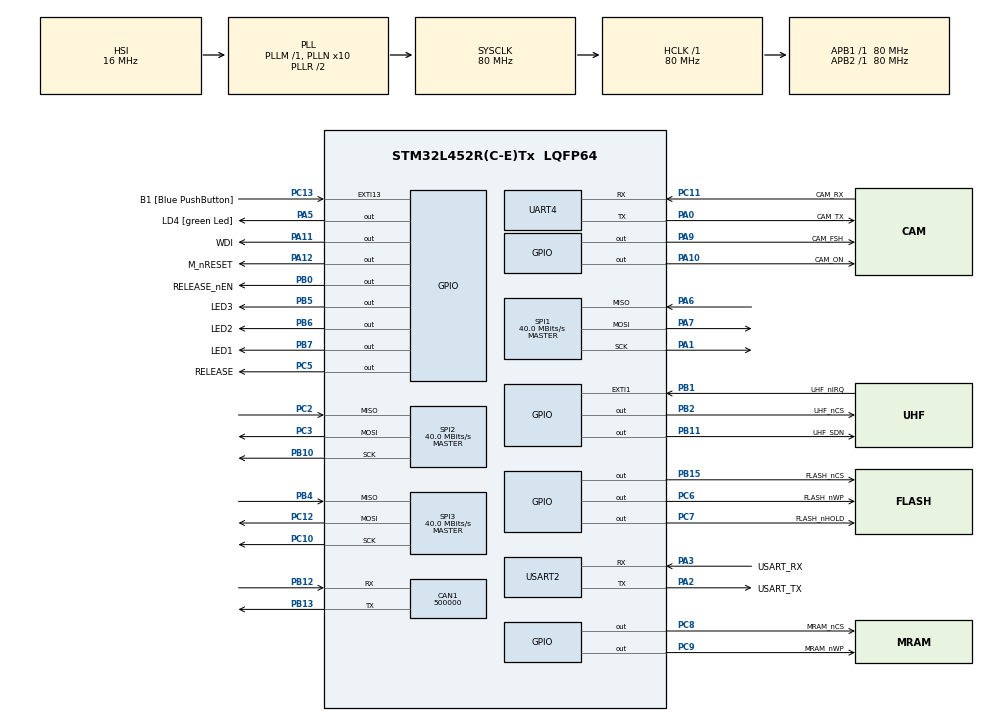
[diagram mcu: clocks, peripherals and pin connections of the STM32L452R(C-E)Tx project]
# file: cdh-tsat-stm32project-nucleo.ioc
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CAN1.BS1=CAN_BS1_5TQ
CAN1.BS2=CAN_BS2_4TQ
CAN1.CalculateBaudRate=500000
CAN1.CalculateTimeBit=2000
CAN1.CalculateTimeQuantum=200.0
Dma.Request0=UART4_RX
Dma.UART4_RX.0.Direction=DMA_PERIPH_TO_MEMORY
Dma.UART4_RX.0.Instance=DMA2_Channel5
Dma.UART4_RX.0.MemDataAlignment=DMA_MDATAALIGN_BYTE
Dma.UART4_RX.0.MemInc=DMA_MINC_ENABLE
Dma.UART4_RX.0.Mode=DMA_NORMAL
Dma.UART4_RX.0.PeriphDataAlignment=DMA_PDATAALIGN_BYTE
Dma.UART4_RX.0.PeriphInc=DMA_PINC_DISABLE
Dma.UART4_RX.0.Priority=DMA_PRIORITY_VERY_HIGH
FREERTOS.Queues01=telemQueue,100,CANMessage,0,Dynamic,NULL,NULL
FREERTOS.Tasks01=defaultTask,24,128,StartDefaultTask,Default,NULL,Dynamic,NULL,NULL;telemHandler,24,1024,StartTelemHandler,As external,NULL,Dynamic,NULL,NULL;fetchTelemData,24,128,StartFetchTelemData,As external,NULL,Dynamic,NULL,NULL
FREERTOS.configTOTAL_HEAP_SIZE=5000
Mcu.Family=STM32L4
Mcu.Name=STM32L452R(C-E)Tx
Mcu.Package=LQFP64
NVIC.CAN1_RX0_IRQn=true\:5\:0\:false\:false\:true\:true\:true\:true\:true
NVIC.DMA2_Channel5_IRQn=true\:5\:0\:false\:false\:true\:true\:false\:true\:true
NVIC.PriorityGroup=NVIC_PRIORITYGROUP_4
NVIC.TIM6_DAC_IRQn=true\:15\:0\:false\:false\:true\:false\:false\:true\:true
NVIC.TimeBase=TIM6_DAC_IRQn
NVIC.TimeBaseIP=TIM6
NVIC.UART4_IRQn=true\:5\:0\:false\:false\:true\:true\:true\:true\:true
PA0.GPIO_Label=CAM_TX
PA0.Mode=Asynchronous
PA0.Signal=UART4_TX
PA1.Mode=Full_Duplex_Master
PA1.Signal=SPI1_SCK
PA10.GPIO_Label=CAM_ON
PA10.Signal=GPIO_Output
PA11.GPIO_Label=WDI
PA11.Signal=GPIO_Output
PA12.GPIO_Label=M_nRESET
PA12.PinState=GPIO_PIN_SET
PA12.Signal=GPIO_Output
PA13\ (JTMS/SWDIO).GPIO_Label=TMS
PA13\ (JTMS/SWDIO).Mode=Serial_Wire
PA13\ (JTMS/SWDIO).Signal=SYS_JTMS-SWDIO
PA14\ (JTCK/SWCLK).GPIO_Label=TCK
PA14\ (JTCK/SWCLK).Mode=Serial_Wire
PA14\ (JTCK/SWCLK).Signal=SYS_JTCK-SWCLK
PA2.GPIO_Label=USART_TX
PA2.GPIO_Mode=GPIO_MODE_AF_PP
PA2.GPIO_PuPd=GPIO_NOPULL
PA2.GPIO_Speed=GPIO_SPEED_FREQ_VERY_HIGH
PA2.Mode=Asynchronous
PA2.Signal=USART2_TX
PA3.GPIO_Label=USART_RX
PA3.GPIO_Mode=GPIO_MODE_AF_PP
PA3.GPIO_PuPd=GPIO_NOPULL
PA3.GPIO_Speed=GPIO_SPEED_FREQ_VERY_HIGH
PA3.Mode=Asynchronous
PA3.Signal=USART2_RX
PA5.GPIO_Label=LD4 [green Led]
PA5.GPIO_ModeDefaultOutputPP=GPIO_MODE_OUTPUT_PP
PA5.GPIO_PuPd=GPIO_NOPULL
PA5.GPIO_Speed=GPIO_SPEED_FREQ_LOW
PA5.Signal=GPIO_Output
PA6.Mode=Full_Duplex_Master
PA6.Signal=SPI1_MISO
PA7.Mode=Full_Duplex_Master
PA7.Signal=SPI1_MOSI
PA9.GPIO_Label=CAM_FSH
PA9.Signal=GPIO_Output
PB0.GPIO_Label=RELEASE_nEN
PB0.PinState=GPIO_PIN_SET
PB0.Signal=GPIO_Output
PB1.GPIO_Label=UHF_nIRQ
PB1.Signal=GPXTI1
PB10.Mode=Full_Duplex_Master
PB10.Signal=SPI2_SCK
PB11.GPIO_Label=UHF_SDN
PB11.Signal=GPIO_Output
PB12.Mode=CAN_Activate
PB12.Signal=CAN1_RX
PB13.Mode=CAN_Activate
PB13.Signal=CAN1_TX
PB15.GPIO_Label=FLASH_nCS
PB15.PinState=GPIO_PIN_SET
PB15.Signal=GPIO_Output
PB2.GPIO_Label=UHF_nCS
PB2.PinState=GPIO_PIN_SET
PB2.Signal=GPIO_Output
PB3\ (JTDO/TRACESWO).GPIO_Label=SWO
PB3\ (JTDO/TRACESWO).Signal=SYS_JTDO-SWO
PB4\ (NJTRST).Mode=Full_Duplex_Master
PB4\ (NJTRST).Signal=SPI3_MISO
PB5.GPIO_Label=LED3
PB5.Signal=GPIO_Output
PB6.GPIO_Label=LED2
PB6.Signal=GPIO_Output
PB7.GPIO_Label=LED1
PB7.Signal=GPIO_Output
PC10.Mode=Full_Duplex_Master
PC10.Signal=SPI3_SCK
PC11.GPIO_Label=CAM_RX
PC11.Mode=Asynchronous
PC11.Signal=UART4_RX
PC12.Mode=Full_Duplex_Master
PC12.Signal=SPI3_MOSI
PC13.GPIO_Label=B1 [Blue PushButton]
PC13.GPIO_ModeDefaultEXTI=GPIO_MODE_IT_FALLING
PC13.GPIO_PuPd=GPIO_NOPULL
PC13.Signal=GPXTI13
PC14-OSC32_IN\ (PC14).Mode=LSE-External-Oscillator
PC14-OSC32_IN\ (PC14).Signal=RCC_OSC32_IN
PC15-OSC32_OUT\ (PC15).Mode=LSE-External-Oscillator
PC15-OSC32_OUT\ (PC15).Signal=RCC_OSC32_OUT
PC2.Mode=Full_Duplex_Master
PC2.Signal=SPI2_MISO
PC3.Mode=Full_Duplex_Master
PC3.Signal=SPI2_MOSI
PC5.GPIO_Label=RELEASE
PC5.Signal=GPIO_Output
PC6.GPIO_Label=FLASH_nWP
PC6.Signal=GPIO_Output
PC7.GPIO_Label=FLASH_nHOLD
PC7.PinState=GPIO_PIN_SET
PC7.Signal=GPIO_Output
PC8.GPIO_Label=MRAM_nCS
PC8.PinState=GPIO_PIN_SET
PC8.Signal=GPIO_Output
PC9.GPIO_Label=MRAM_nWP
PC9.Signal=GPIO_Output
PH0-OSC_IN\ (PH0).Signal=RCC_OSC_IN
PH1-OSC_OUT\ (PH1).Signal=RCC_OSC_OUT
ProjectManager.HeapSize=0x200
ProjectManager.StackSize=0x400
ProjectManager.TargetToolchain=STM32CubeIDE
RCC.ADCFreq_Value=64000000
RCC.AHBFreq_Value=80000000
RCC.APB1Freq_Value=80000000
RCC.APB1TimFreq_Value=80000000
RCC.APB2Freq_Value=80000000
RCC.APB2TimFreq_Value=80000000
RCC.CortexFreq_Value=80000000
RCC.HCLKFreq_Value=80000000
RCC.HSE_VALUE=8000000
RCC.HSI48_VALUE=48000000
RCC.HSI_VALUE=16000000
RCC.MSI_VALUE=4000000
RCC.PLLN=10
RCC.PLLSourceVirtual=RCC_PLLSOURCE_HSI
RCC.PREFETCH_ENABLE=1
RCC.SYSCLKFreq_VALUE=80000000
RCC.SYSCLKSource=RCC_SYSCLKSOURCE_PLLCLK
RCC.USBFreq_Value=64000000
RCC.VCOOutputFreq_Value=160000000
SPI1.CalculateBaudRate=40.0 MBits/s
SPI1.DataSize=SPI_DATASIZE_8BIT
SPI1.Direction=SPI_DIRECTION_2LINES
SPI1.Mode=SPI_MODE_MASTER
SPI1.VirtualType=VM_MASTER
SPI2.CalculateBaudRate=40.0 MBits/s
SPI2.DataSize=SPI_DATASIZE_8BIT
SPI2.Direction=SPI_DIRECTION_2LINES
SPI2.Mode=SPI_MODE_MASTER
SPI2.VirtualType=VM_MASTER
SPI3.CalculateBaudRate=40.0 MBits/s
SPI3.DataSize=SPI_DATASIZE_8BIT
SPI3.Direction=SPI_DIRECTION_2LINES
SPI3.Mode=SPI_MODE_MASTER
SPI3.VirtualType=VM_MASTER
TIM16.Period=5000 - 1
TIM16.Prescaler=80 - 1
USART2.VirtualMode-Asynchronous=VM_ASYNC
VP_FREERTOS_VS_CMSIS_V2.Mode=CMSIS_V2
VP_RTC_VS_RTC_Activate.Mode=RTC_Enabled
VP_RTC_VS_RTC_Calendar.Mode=RTC_Calendar
VP_SYS_VS_tim6.Mode=TIM6
VP_TIM16_VS_ClockSourceINT.Mode=Enable_Timer
board=NUCLEO-L452RE

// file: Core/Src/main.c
/* USER CODE BEGIN Header */
/**
  ******************************************************************************
  * @file           : main.c
  * @brief          : Main program body
  ******************************************************************************
  * @attention
  *
  * Copyright (c) 2024 STMicroelectronics.
  * All rights reserved.
  *
  * This software is licensed under terms that can be found in the LICENSE file
  * in the root directory of this software component.
  * If no LICENSE file comes with this software, it is provided AS-IS.
  *
  ******************************************************************************
  */
/* USER CODE END Header */
#include "main.h"
#include "cmsis_os.h"

/* USER CODE BEGIN Includes */
#include <stdio.h>
#include <stdlib.h>
#include <string.h>

#include <tuk/tuk.h>

#include "W25N_driver.h"
#include "W25N_driver_test.h"
#include "Dhara_Wrapper.h"
#include "Dhara_test.h"
#include "StorageManager.h"
#include "AS3001204_driver.h"
#include "AS3001204_driver_test.h"
#include "LEDs_driver.h"
#include "MAX6822_driver.h"
#include "LTC1154_driver.h"
#include "telemetry_handling.h"

/* USER CODE END Includes */

CAN_HandleTypeDef hcan1;

RTC_HandleTypeDef hrtc;

SPI_HandleTypeDef hspi1;
SPI_HandleTypeDef hspi2;
SPI_HandleTypeDef hspi3;

TIM_HandleTypeDef htim16;

UART_HandleTypeDef huart4;
UART_HandleTypeDef huart2;
DMA_HandleTypeDef hdma_uart4_rx;

/* Definitions for defaultTask */
osThreadId_t defaultTaskHandle;
const osThreadAttr_t defaultTask_attributes = {
  .name = "defaultTask",
  .stack_size = 128 * 4,
  .priority = (osPriority_t) osPriorityNormal,
};
/* Definitions for telemHandler */
osThreadId_t telemHandlerHandle;
const osThreadAttr_t telemHandler_attributes = {
  .name = "telemHandler",
  .stack_size = 1024 * 4,
  .priority = (osPriority_t) osPriorityNormal,
};
/* Definitions for telemQueue */
osMessageQueueId_t telemQueueHandle;
const osMessageQueueAttr_t telemQueue_attributes = {
  .name = "telemQueue"
};

void SystemClock_Config(void);
static void MX_GPIO_Init(void);
static void MX_DMA_Init(void);
static void MX_USART2_UART_Init(void);
static void MX_CAN1_Init(void);
static void MX_SPI1_Init(void);
static void MX_SPI2_Init(void);
static void MX_SPI3_Init(void);
static void MX_UART4_Init(void);
static void MX_TIM16_Init(void);
static void MX_RTC_Init(void);
void StartDefaultTask(void *argument);
extern void StartTelemHandler(void *argument);

int main(void)
{

  /* MCU Configuration--------------------------------------------------------*/

  /* Reset of all peripherals, Initializes the Flash interface and the Systick. */
  HAL_Init();

  /* Configure the system clock */
  SystemClock_Config();

  /* Initialize all configured peripherals */
  MX_GPIO_Init();
  MX_DMA_Init();
  MX_USART2_UART_Init();
  MX_CAN1_Init();
  MX_SPI1_Init();
  MX_SPI2_Init();
  MX_SPI3_Init();
  MX_UART4_Init();
  MX_TIM16_Init();
  MX_RTC_Init();
  /* USER CODE BEGIN 2 */

  //###############################################################################################
  //Peripheral Initialization
  //###############################################################################################

  //this code initializes the MAX6822
  /*MAX6822_Init();*/

  //this code initializes the LEDs
  /*LEDs_Init();*/

  //this code initializes the LTC1154
  /*LTC1154_Init();*/

  //this code initializes the CAN Bus
  /*HAL_StatusTypeDef can_operation_status;
  can_operation_status = CAN_Init();
  if (can_operation_status != HAL_OK) goto error;*/

  //this code initializes the W25N
//  W25N_StatusTypeDef w25n_operation_status;
//  w25n_operation_status = W25N_Init();
//  if (w25n_operation_status != W25N_HAL_OK) goto error;

  //this code initializes the AS3001204
  /*HAL_StatusTypeDef as3001204_operation_status;
  as3001204_operation_status = AS3001204_Init();
  if (as3001204_operation_status != HAL_OK) goto error;*/

  //###############################################################################################
  //Peripheral Unit Tests
  //###############################################################################################

  //this code performs the W25N unit tests
  //this code should be completed after power cycling the W25N
  /*w25n_operation_status = Test_W25N();
  if (w25n_operation_status != W25N_HAL_OK) goto error;
  w25n_operation_status = W25N_Reset_And_Init();
  if (w25n_operation_status != W25N_HAL_OK) goto error;*/

  //this code performs the AS3001204 unit tests
  //this code should be completed after power cycling the AS3001204
  /*as3001204_operation_status = AS3001204_Test_MRAM_Driver();
  if (as3001204_operation_status != HAL_OK) goto error;
  as3001204_operation_status = AS3001204_Init();
  if (as3001204_operation_status != HAL_OK) goto error;*/

  //###############################################################################################
  //Library Initialization
  //###############################################################################################

  //this code initializes the Dhara Library
//  dhara_error_t dhara_status=DHARA_E_NONE;
//  dhara_status=Dhara_Init();
//  if(dhara_status!=DHARA_E_NONE&&dhara_status!=DHARA_E_NOT_FOUND) goto error;
//  dhara_status=DHARA_E_NONE;

  //this code initializes the Storage Manager
//  if(!Storage_Init()) goto error;

  //###############################################################################################
  //Library Unit Tests
  //###############################################################################################

  //this code performs the Dhara library tests
//  dhara_status=Dhara_Test();
//  if(dhara_status!=DHARA_E_NONE) goto error;

  //this code performs the Storage Manager Test
//  uint8_t temp[7] = {0};
//  Storage_Append(TELEM, temp, 7);
//  if(!Storage_Unit_Test(temp, 7)) goto error;

  /* USER CODE END 2 */

  /* Init scheduler */
  osKernelInitialize();

  /* Create the queue(s) */
  /* creation of telemQueue */
  telemQueueHandle = osMessageQueueNew (100, sizeof(CANMessage), &telemQueue_attributes);

  /* Create the thread(s) */
  /* creation of defaultTask */
  defaultTaskHandle = osThreadNew(StartDefaultTask, NULL, &defaultTask_attributes);

  /* creation of telemHandler */
  telemHandlerHandle = osThreadNew(StartTelemHandler, NULL, &telemHandler_attributes);

  /* Start scheduler */
  osKernelStart();

  /* We should never get here as control is now taken by the scheduler */
  /* Infinite loop */
  while (1)
  {

    /* USER CODE BEGIN 3 */
  }

error:
  exit(1);
  /* USER CODE END 3 */
}

void SystemClock_Config(void)
{
  RCC_OscInitTypeDef RCC_OscInitStruct = {0};
  RCC_ClkInitTypeDef RCC_ClkInitStruct = {0};

  /** Configure the main internal regulator output voltage
  */
  if (HAL_PWREx_ControlVoltageScaling(PWR_REGULATOR_VOLTAGE_SCALE1) != HAL_OK)
  {
    Error_Handler();
  }

  /** Initializes the RCC Oscillators according to the specified parameters
  * in the RCC_OscInitTypeDef structure.
  */
  RCC_OscInitStruct.OscillatorType = RCC_OSCILLATORTYPE_HSI|RCC_OSCILLATORTYPE_LSI;
  RCC_OscInitStruct.HSIState = RCC_HSI_ON;
  RCC_OscInitStruct.HSICalibrationValue = RCC_HSICALIBRATION_DEFAULT;
  RCC_OscInitStruct.LSIState = RCC_LSI_ON;
  RCC_OscInitStruct.PLL.PLLState = RCC_PLL_ON;
  RCC_OscInitStruct.PLL.PLLSource = RCC_PLLSOURCE_HSI;
  RCC_OscInitStruct.PLL.PLLM = 1;
  RCC_OscInitStruct.PLL.PLLN = 10;
  RCC_OscInitStruct.PLL.PLLP = RCC_PLLP_DIV7;
  RCC_OscInitStruct.PLL.PLLQ = RCC_PLLQ_DIV2;
  RCC_OscInitStruct.PLL.PLLR = RCC_PLLR_DIV2;
  if (HAL_RCC_OscConfig(&RCC_OscInitStruct) != HAL_OK)
  {
    Error_Handler();
  }

  /** Initializes the CPU, AHB and APB buses clocks
  */
  RCC_ClkInitStruct.ClockType = RCC_CLOCKTYPE_HCLK|RCC_CLOCKTYPE_SYSCLK
                              |RCC_CLOCKTYPE_PCLK1|RCC_CLOCKTYPE_PCLK2;
  RCC_ClkInitStruct.SYSCLKSource = RCC_SYSCLKSOURCE_PLLCLK;
  RCC_ClkInitStruct.AHBCLKDivider = RCC_SYSCLK_DIV1;
  RCC_ClkInitStruct.APB1CLKDivider = RCC_HCLK_DIV1;
  RCC_ClkInitStruct.APB2CLKDivider = RCC_HCLK_DIV1;

  if (HAL_RCC_ClockConfig(&RCC_ClkInitStruct, FLASH_LATENCY_4) != HAL_OK)
  {
    Error_Handler();
  }
}

static void MX_CAN1_Init(void)
{

  hcan1.Instance = CAN1;
  hcan1.Init.Prescaler = 16;
  hcan1.Init.Mode = CAN_MODE_NORMAL;
  hcan1.Init.SyncJumpWidth = CAN_SJW_1TQ;
  hcan1.Init.TimeSeg1 = CAN_BS1_5TQ;
  hcan1.Init.TimeSeg2 = CAN_BS2_4TQ;
  hcan1.Init.TimeTriggeredMode = DISABLE;
  hcan1.Init.AutoBusOff = DISABLE;
  hcan1.Init.AutoWakeUp = DISABLE;
  hcan1.Init.AutoRetransmission = DISABLE;
  hcan1.Init.ReceiveFifoLocked = DISABLE;
  hcan1.Init.TransmitFifoPriority = DISABLE;
  if (HAL_CAN_Init(&hcan1) != HAL_OK)
  {
    Error_Handler();
  }

}

static void MX_RTC_Init(void)
{

  RTC_TimeTypeDef sTime = {0};
  RTC_DateTypeDef sDate = {0};

  /** Initialize RTC Only
  */
  hrtc.Instance = RTC;
  hrtc.Init.HourFormat = RTC_HOURFORMAT_24;
  hrtc.Init.AsynchPrediv = 127;
  hrtc.Init.SynchPrediv = 255;
  hrtc.Init.OutPut = RTC_OUTPUT_DISABLE;
  hrtc.Init.OutPutRemap = RTC_OUTPUT_REMAP_NONE;
  hrtc.Init.OutPutPolarity = RTC_OUTPUT_POLARITY_HIGH;
  hrtc.Init.OutPutType = RTC_OUTPUT_TYPE_OPENDRAIN;
  if (HAL_RTC_Init(&hrtc) != HAL_OK)
  {
    Error_Handler();
  }

  /** Initialize RTC and set the Time and Date
  */
  sTime.Hours = 0x0;
  sTime.Minutes = 0x0;
  sTime.Seconds = 0x0;
  sTime.DayLightSaving = RTC_DAYLIGHTSAVING_NONE;
  sTime.StoreOperation = RTC_STOREOPERATION_RESET;
  if (HAL_RTC_SetTime(&hrtc, &sTime, RTC_FORMAT_BCD) != HAL_OK)
  {
    Error_Handler();
  }
  sDate.WeekDay = RTC_WEEKDAY_MONDAY;
  sDate.Month = RTC_MONTH_JANUARY;
  sDate.Date = 0x1;
  sDate.Year = 0x0;

  if (HAL_RTC_SetDate(&hrtc, &sDate, RTC_FORMAT_BCD) != HAL_OK)
  {
    Error_Handler();
  }

}

static void MX_SPI1_Init(void)
{

  /* SPI1 parameter configuration*/
  hspi1.Instance = SPI1;
  hspi1.Init.Mode = SPI_MODE_MASTER;
  hspi1.Init.Direction = SPI_DIRECTION_2LINES;
  hspi1.Init.DataSize = SPI_DATASIZE_8BIT;
  hspi1.Init.CLKPolarity = SPI_POLARITY_LOW;
  hspi1.Init.CLKPhase = SPI_PHASE_1EDGE;
  hspi1.Init.NSS = SPI_NSS_SOFT;
  hspi1.Init.BaudRatePrescaler = SPI_BAUDRATEPRESCALER_2;
  hspi1.Init.FirstBit = SPI_FIRSTBIT_MSB;
  hspi1.Init.TIMode = SPI_TIMODE_DISABLE;
  hspi1.Init.CRCCalculation = SPI_CRCCALCULATION_DISABLE;
  hspi1.Init.CRCPolynomial = 7;
  hspi1.Init.CRCLength = SPI_CRC_LENGTH_DATASIZE;
  hspi1.Init.NSSPMode = SPI_NSS_PULSE_ENABLE;
  if (HAL_SPI_Init(&hspi1) != HAL_OK)
  {
    Error_Handler();
  }

}

static void MX_SPI2_Init(void)
{

  /* SPI2 parameter configuration*/
  hspi2.Instance = SPI2;
  hspi2.Init.Mode = SPI_MODE_MASTER;
  hspi2.Init.Direction = SPI_DIRECTION_2LINES;
  hspi2.Init.DataSize = SPI_DATASIZE_8BIT;
  hspi2.Init.CLKPolarity = SPI_POLARITY_LOW;
  hspi2.Init.CLKPhase = SPI_PHASE_1EDGE;
  hspi2.Init.NSS = SPI_NSS_SOFT;
  hspi2.Init.BaudRatePrescaler = SPI_BAUDRATEPRESCALER_2;
  hspi2.Init.FirstBit = SPI_FIRSTBIT_MSB;
  hspi2.Init.TIMode = SPI_TIMODE_DISABLE;
  hspi2.Init.CRCCalculation = SPI_CRCCALCULATION_DISABLE;
  hspi2.Init.CRCPolynomial = 7;
  hspi2.Init.CRCLength = SPI_CRC_LENGTH_DATASIZE;
  hspi2.Init.NSSPMode = SPI_NSS_PULSE_ENABLE;
  if (HAL_SPI_Init(&hspi2) != HAL_OK)
  {
    Error_Handler();
  }

}

static void MX_SPI3_Init(void)
{

  /* SPI3 parameter configuration*/
  hspi3.Instance = SPI3;
  hspi3.Init.Mode = SPI_MODE_MASTER;
  hspi3.Init.Direction = SPI_DIRECTION_2LINES;
  hspi3.Init.DataSize = SPI_DATASIZE_8BIT;
  hspi3.Init.CLKPolarity = SPI_POLARITY_LOW;
  hspi3.Init.CLKPhase = SPI_PHASE_1EDGE;
  hspi3.Init.NSS = SPI_NSS_SOFT;
  hspi3.Init.BaudRatePrescaler = SPI_BAUDRATEPRESCALER_2;
  hspi3.Init.FirstBit = SPI_FIRSTBIT_MSB;
  hspi3.Init.TIMode = SPI_TIMODE_DISABLE;
  hspi3.Init.CRCCalculation = SPI_CRCCALCULATION_DISABLE;
  hspi3.Init.CRCPolynomial = 7;
  hspi3.Init.CRCLength = SPI_CRC_LENGTH_DATASIZE;
  hspi3.Init.NSSPMode = SPI_NSS_PULSE_ENABLE;
  if (HAL_SPI_Init(&hspi3) != HAL_OK)
  {
    Error_Handler();
  }

}

static void MX_TIM16_Init(void)
{

  htim16.Instance = TIM16;
  htim16.Init.Prescaler = 80 - 1;
  htim16.Init.CounterMode = TIM_COUNTERMODE_UP;
  htim16.Init.Period = 5000 - 1;
  htim16.Init.ClockDivision = TIM_CLOCKDIVISION_DIV1;
  htim16.Init.RepetitionCounter = 0;
  htim16.Init.AutoReloadPreload = TIM_AUTORELOAD_PRELOAD_DISABLE;
  if (HAL_TIM_Base_Init(&htim16) != HAL_OK)
  {
    Error_Handler();
  }

}

static void MX_UART4_Init(void)
{

  huart4.Instance = UART4;
  huart4.Init.BaudRate = 115200;
  huart4.Init.WordLength = UART_WORDLENGTH_8B;
  huart4.Init.StopBits = UART_STOPBITS_1;
  huart4.Init.Parity = UART_PARITY_NONE;
  huart4.Init.Mode = UART_MODE_TX_RX;
  huart4.Init.HwFlowCtl = UART_HWCONTROL_NONE;
  huart4.Init.OverSampling = UART_OVERSAMPLING_16;
  huart4.Init.OneBitSampling = UART_ONE_BIT_SAMPLE_DISABLE;
  huart4.AdvancedInit.AdvFeatureInit = UART_ADVFEATURE_NO_INIT;
  if (HAL_UART_Init(&huart4) != HAL_OK)
  {
    Error_Handler();
  }

}

static void MX_USART2_UART_Init(void)
{

  huart2.Instance = USART2;
  huart2.Init.BaudRate = 115200;
  huart2.Init.WordLength = UART_WORDLENGTH_8B;
  huart2.Init.StopBits = UART_STOPBITS_1;
  huart2.Init.Parity = UART_PARITY_NONE;
  huart2.Init.Mode = UART_MODE_TX_RX;
  huart2.Init.HwFlowCtl = UART_HWCONTROL_NONE;
  huart2.Init.OverSampling = UART_OVERSAMPLING_16;
  huart2.Init.OneBitSampling = UART_ONE_BIT_SAMPLE_DISABLE;
  huart2.AdvancedInit.AdvFeatureInit = UART_ADVFEATURE_NO_INIT;
  if (HAL_UART_Init(&huart2) != HAL_OK)
  {
    Error_Handler();
  }

}

static void MX_DMA_Init(void)
{

  /* DMA controller clock enable */
  __HAL_RCC_DMA2_CLK_ENABLE();

  /* DMA interrupt init */
  /* DMA2_Channel5_IRQn interrupt configuration */
  HAL_NVIC_SetPriority(DMA2_Channel5_IRQn, 5, 0);
  HAL_NVIC_EnableIRQ(DMA2_Channel5_IRQn);

}

static void MX_GPIO_Init(void)
{
  GPIO_InitTypeDef GPIO_InitStruct = {0};

  /* GPIO Ports Clock Enable */
  __HAL_RCC_GPIOC_CLK_ENABLE();
  __HAL_RCC_GPIOH_CLK_ENABLE();
  __HAL_RCC_GPIOA_CLK_ENABLE();
  __HAL_RCC_GPIOB_CLK_ENABLE();

  /*Configure GPIO pin Output Level */
  HAL_GPIO_WritePin(GPIOA, LD4_Pin|CAM_FSH_Pin|CAM_ON_Pin|WDI_Pin, GPIO_PIN_RESET);

  /*Configure GPIO pin Output Level */
  HAL_GPIO_WritePin(GPIOC, RELEASE_Pin|FLASH_nWP_Pin|MRAM_nWP_Pin, GPIO_PIN_RESET);

  /*Configure GPIO pin Output Level */
  HAL_GPIO_WritePin(GPIOB, RELEASE_nEN_Pin|UHF_nCS_Pin|FLASH_nCS_Pin, GPIO_PIN_SET);

  /*Configure GPIO pin Output Level */
  HAL_GPIO_WritePin(GPIOB, UHF_SDN_Pin|LED3_Pin|LED2_Pin|LED1_Pin, GPIO_PIN_RESET);

  /*Configure GPIO pin Output Level */
  HAL_GPIO_WritePin(GPIOC, FLASH_nHOLD_Pin|MRAM_nCS_Pin, GPIO_PIN_SET);

  /*Configure GPIO pin Output Level */
  HAL_GPIO_WritePin(M_nRESET_GPIO_Port, M_nRESET_Pin, GPIO_PIN_SET);

  /*Configure GPIO pin : B1_Pin */
  GPIO_InitStruct.Pin = B1_Pin;
  GPIO_InitStruct.Mode = GPIO_MODE_IT_FALLING;
  GPIO_InitStruct.Pull = GPIO_NOPULL;
  HAL_GPIO_Init(B1_GPIO_Port, &GPIO_InitStruct);

  /*Configure GPIO pins : LD4_Pin CAM_FSH_Pin CAM_ON_Pin WDI_Pin
                           M_nRESET_Pin */
  GPIO_InitStruct.Pin = LD4_Pin|CAM_FSH_Pin|CAM_ON_Pin|WDI_Pin
                          |M_nRESET_Pin;
  GPIO_InitStruct.Mode = GPIO_MODE_OUTPUT_PP;
  GPIO_InitStruct.Pull = GPIO_NOPULL;
  GPIO_InitStruct.Speed = GPIO_SPEED_FREQ_LOW;
  HAL_GPIO_Init(GPIOA, &GPIO_InitStruct);

  /*Configure GPIO pins : RELEASE_Pin FLASH_nWP_Pin FLASH_nHOLD_Pin MRAM_nCS_Pin
                           MRAM_nWP_Pin */
  GPIO_InitStruct.Pin = RELEASE_Pin|FLASH_nWP_Pin|FLASH_nHOLD_Pin|MRAM_nCS_Pin
                          |MRAM_nWP_Pin;
  GPIO_InitStruct.Mode = GPIO_MODE_OUTPUT_PP;
  GPIO_InitStruct.Pull = GPIO_NOPULL;
  GPIO_InitStruct.Speed = GPIO_SPEED_FREQ_LOW;
  HAL_GPIO_Init(GPIOC, &GPIO_InitStruct);

  /*Configure GPIO pins : RELEASE_nEN_Pin UHF_nCS_Pin UHF_SDN_Pin FLASH_nCS_Pin
                           LED3_Pin LED2_Pin LED1_Pin */
  GPIO_InitStruct.Pin = RELEASE_nEN_Pin|UHF_nCS_Pin|UHF_SDN_Pin|FLASH_nCS_Pin
                          |LED3_Pin|LED2_Pin|LED1_Pin;
  GPIO_InitStruct.Mode = GPIO_MODE_OUTPUT_PP;
  GPIO_InitStruct.Pull = GPIO_NOPULL;
  GPIO_InitStruct.Speed = GPIO_SPEED_FREQ_LOW;
  HAL_GPIO_Init(GPIOB, &GPIO_InitStruct);

  /*Configure GPIO pin : UHF_nIRQ_Pin */
  GPIO_InitStruct.Pin = UHF_nIRQ_Pin;
  GPIO_InitStruct.Mode = GPIO_MODE_IT_RISING;
  GPIO_InitStruct.Pull = GPIO_NOPULL;
  HAL_GPIO_Init(UHF_nIRQ_GPIO_Port, &GPIO_InitStruct);

}

void StartDefaultTask(void *argument)
{
  /* USER CODE BEGIN 5 */

  /* Infinite loop */
  for(;;)
  {
	printf("Hello World\r\n");
    osDelay(1);
  }
  /* USER CODE END 5 */
}

void HAL_TIM_PeriodElapsedCallback(TIM_HandleTypeDef *htim)
{
  if (htim->Instance == TIM6) {
    HAL_IncTick();
  }
}

void Error_Handler(void)
{
  __disable_irq();
  while (1)
  {
  }
}
